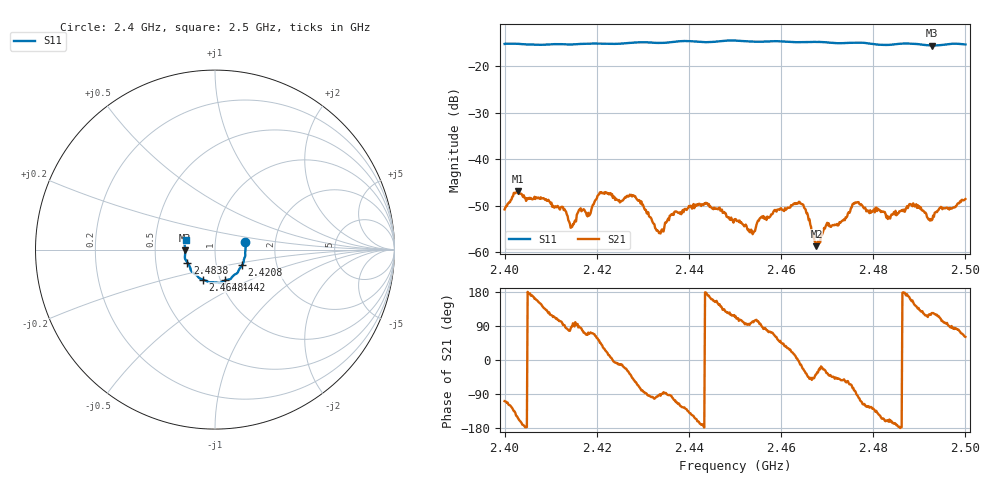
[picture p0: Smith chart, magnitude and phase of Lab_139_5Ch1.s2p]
# Hz S RI R 50
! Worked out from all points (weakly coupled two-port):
!   601 points, 2.4 GHz to 2.5 GHz, reference 50 ohm
!   highest |S21| = -46.86 dB at 2.4028 GHz (marker M1); lowest = -58.6 dB at 2.4677 GHz (marker M2)
!   lowest |S11| = -15.6 dB at 2.4928 GHz (marker M3), VSWR 1.40, Z = 35.8 - j0.359 ohm
!   |S11| at or under -10 dB: start of sweep to end of sweep
!   S12 and S22 are empty: the file has one direction only
!   S11 on the Smith chart (normalised r, x): 2.4 GHz: 1.40, +0.12; 2.4208 GHz: 1.33, -0.24; 2.4442 GHz: 1.05, -0.37; 2.4648 GHz: 0.83, -0.29; 2.4838 GHz: 0.73, -0.11; 2.5 GHz: 0.72, +0.08
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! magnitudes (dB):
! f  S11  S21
! 2.4 GHz  -15.3  -50.8
! 2.4028 GHz  -15.2  -46.9
! 2.4127 GHz  -15.3  -50.3
! 2.4145 GHz  -15.4  -54.6
! 2.4167 GHz  -15.2  -51.1
! 2.4183 GHz  -15.2  -52.1
! 2.4208 GHz  -15.2  -47.3
! 2.428 GHz  -15.0  -47.8
! 2.4333 GHz  -15.0  -55.4
! 2.4367 GHz  -14.8  -51.9
! 2.4442 GHz  -14.9  -49.8
! 2.45 GHz  -14.5  -52.8
! 2.4538 GHz  -14.8  -56.1
! 2.4648 GHz  -14.9  -49.8
! 2.4667 GHz  -14.8  -55.8
! 2.4677 GHz  -14.8  -58.6
! 2.4762 GHz  -15.0  -49.4
! 2.4833 GHz  -15.5  -52.3
! 2.4838 GHz  -15.4  -52.1
! 2.4883 GHz  -15.2  -49.9
! 2.4928 GHz  -15.6  -52.9
! 2.5 GHz  -15.4  -48.5
